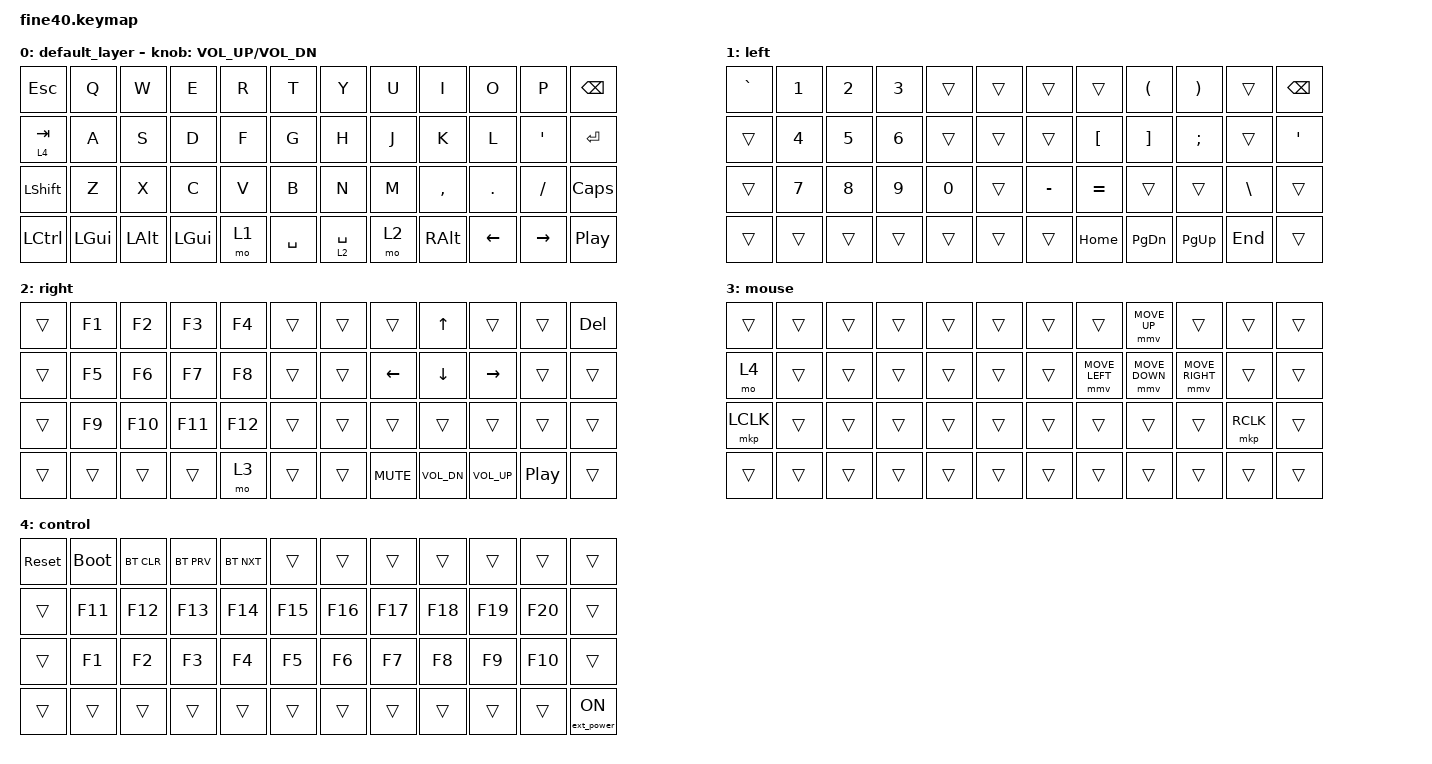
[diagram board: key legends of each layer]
/*
 * Aidan Smith (2021)
 *
 * SPDX-License-Identifier: MIT
 */
#define ZMK_POINTING_DEFAULT_MOVE_VAL 2850
#include <behaviors.dtsi>
#include <dt-bindings/zmk/bt.h>
#include <dt-bindings/zmk/ext_power.h>
#include <dt-bindings/zmk/keys.h>
#include <dt-bindings/zmk/pointing.h>
#include <dt-bindings/zmk/pointing.h>

/ {
    keymap {
        compatible = "zmk,keymap";

        default_layer {
            bindings = <
&kp ESC    &kp Q     &kp W     &kp E     &kp R  &kp T      &kp Y        &kp U  &kp I      &kp O     &kp P      &kp BSPC
&lt 4 TAB  &kp A     &kp S     &kp D     &kp F  &kp G      &kp H        &kp J  &kp K      &kp L     &kp APOS   &kp RET
&kp LSHFT  &kp Z     &kp X     &kp C     &kp V  &kp B      &kp N        &kp M  &kp COMMA  &kp DOT   &kp FSLH   &kp CAPS
&kp LCTRL  &kp LGUI  &kp LALT  &kp LGUI  &mo 1  &kp SPACE  &lt 2 SPACE  &mo 2  &kp RALT   &kp LEFT  &kp RIGHT  &kp C_PP
            >;

            sensor-bindings = <&inc_dec_kp C_VOL_UP C_VOL_DN>;
        };

        left {
            bindings = <
&kp GRAVE  &kp N1  &kp N2  &kp N3  &trans  &trans  &trans     &trans            &kp LPAR           &kp RPAR   &trans    &kp BSPC
&trans     &kp N4  &kp N5  &kp N6  &trans  &trans  &trans     &kp LEFT_BRACKET  &kp RIGHT_BRACKET  &kp SEMI   &trans    &kp APOS
&trans     &kp N7  &kp N8  &kp N9  &kp N0  &trans  &kp MINUS  &kp EQUAL         &trans             &trans     &kp BSLH  &trans
&trans     &trans  &trans  &trans  &trans  &trans  &trans     &kp HOME          &kp PG_DN          &kp PG_UP  &kp END   &trans
            >;
        };

        right {
            bindings = <
&trans  &kp F1  &kp F2   &kp F3   &kp F4   &trans  &trans  &trans      &kp UP_ARROW    &trans        &trans    &kp DEL
&trans  &kp F5  &kp F6   &kp F7   &kp F8   &trans  &trans  &kp LEFT    &kp DOWN_ARROW  &kp RIGHT     &trans    &trans
&trans  &kp F9  &kp F10  &kp F11  &kp F12  &trans  &trans  &trans      &trans          &trans        &trans    &trans
&trans  &trans  &trans   &trans   &mo 3    &trans  &trans  &kp C_MUTE  &kp C_VOL_DN    &kp C_VOL_UP  &kp C_PP  &trans
            >;
        };

        mouse {
            bindings = <
&trans     &trans  &trans  &trans  &trans  &trans  &trans  &trans          &mmv MOVE_UP    &trans           &trans     &trans
&mo 4      &trans  &trans  &trans  &trans  &trans  &trans  &mmv MOVE_LEFT  &mmv MOVE_DOWN  &mmv MOVE_RIGHT  &trans     &trans
&mkp LCLK  &trans  &trans  &trans  &trans  &trans  &trans  &trans          &trans          &trans           &mkp RCLK  &trans
&trans     &trans  &trans  &trans  &trans  &trans  &trans  &trans          &trans          &trans           &trans     &trans
            >;
        };

        control {
            bindings = <
&sys_reset  &bootloader  &bt BT_CLR  &bt BT_PRV  &bt BT_NXT  &trans   &trans   &trans   &trans   &trans   &trans   &trans
&trans      &kp F11      &kp F12     &kp F13     &kp F14     &kp F15  &kp F16  &kp F17  &kp F18  &kp F19  &kp F20  &trans
&trans      &kp F1       &kp F2      &kp F3      &kp F4      &kp F5   &kp F6   &kp F7   &kp F8   &kp F9   &kp F10  &trans
&trans      &trans       &trans      &trans      &trans      &trans   &trans   &trans   &trans   &trans   &trans   &ext_power EP_ON
            >;
        };
    };
};
